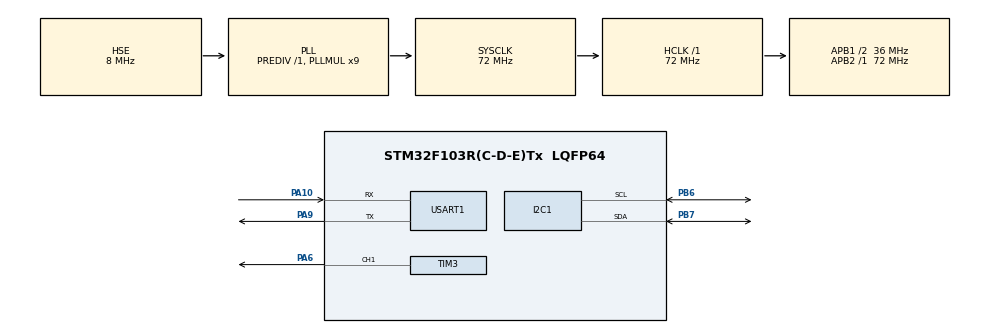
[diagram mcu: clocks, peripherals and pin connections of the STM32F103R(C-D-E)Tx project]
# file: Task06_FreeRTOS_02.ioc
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Dma.Request0=USART1_RX
Dma.Request1=USART1_TX
Dma.USART1_RX.0.Direction=DMA_PERIPH_TO_MEMORY
Dma.USART1_RX.0.Instance=DMA1_Channel5
Dma.USART1_RX.0.MemDataAlignment=DMA_MDATAALIGN_BYTE
Dma.USART1_RX.0.MemInc=DMA_MINC_ENABLE
Dma.USART1_RX.0.Mode=DMA_NORMAL
Dma.USART1_RX.0.PeriphDataAlignment=DMA_PDATAALIGN_BYTE
Dma.USART1_RX.0.PeriphInc=DMA_PINC_DISABLE
Dma.USART1_RX.0.Priority=DMA_PRIORITY_LOW
Dma.USART1_TX.1.Direction=DMA_MEMORY_TO_PERIPH
Dma.USART1_TX.1.Instance=DMA1_Channel4
Dma.USART1_TX.1.MemDataAlignment=DMA_MDATAALIGN_BYTE
Dma.USART1_TX.1.MemInc=DMA_MINC_ENABLE
Dma.USART1_TX.1.Mode=DMA_NORMAL
Dma.USART1_TX.1.PeriphDataAlignment=DMA_PDATAALIGN_BYTE
Dma.USART1_TX.1.PeriphInc=DMA_PINC_DISABLE
Dma.USART1_TX.1.Priority=DMA_PRIORITY_LOW
FREERTOS.INCLUDE_vTaskDelayUntil=1
FREERTOS.Tasks01=defaultTask,0,128,StartDefaultTask,Default,NULL,Dynamic,NULL,NULL
I2C1.I2C_Mode=I2C_Fast
Mcu.Family=STM32F1
Mcu.Name=STM32F103R(C-D-E)Tx
Mcu.Package=LQFP64
NVIC.DMA1_Channel4_IRQn=true\:5\:0\:false\:false\:true\:true\:false\:true
NVIC.DMA1_Channel5_IRQn=true\:5\:0\:false\:false\:true\:true\:false\:true
NVIC.PriorityGroup=NVIC_PRIORITYGROUP_4
NVIC.TIM6_IRQn=true\:15\:0\:false\:false\:true\:false\:false\:true
NVIC.TimeBase=TIM6_IRQn
NVIC.TimeBaseIP=TIM6
NVIC.USART1_IRQn=true\:5\:0\:false\:false\:true\:true\:true\:true
PA10.Mode=Asynchronous
PA10.Signal=USART1_RX
PA13.Mode=Serial_Wire
PA13.Signal=SYS_JTMS-SWDIO
PA14.Mode=Serial_Wire
PA14.Signal=SYS_JTCK-SWCLK
PA6.Signal=S_TIM3_CH1
PA9.Mode=Asynchronous
PA9.Signal=USART1_TX
PB6.Mode=I2C
PB6.Signal=I2C1_SCL
PB7.Mode=I2C
PB7.Signal=I2C1_SDA
PD0-OSC_IN.Mode=HSE-External-Oscillator
PD0-OSC_IN.Signal=RCC_OSC_IN
PD1-OSC_OUT.Mode=HSE-External-Oscillator
PD1-OSC_OUT.Signal=RCC_OSC_OUT
ProjectManager.HeapSize=0x200
ProjectManager.StackSize=0x400
ProjectManager.TargetToolchain=MDK-ARM V5.32
RCC.AHBFreq_Value=72000000
RCC.APB1CLKDivider=RCC_HCLK_DIV2
RCC.APB1Freq_Value=36000000
RCC.APB1TimFreq_Value=72000000
RCC.APB2Freq_Value=72000000
RCC.APB2TimFreq_Value=72000000
RCC.HCLKFreq_Value=72000000
RCC.PLLMUL=RCC_PLL_MUL9
RCC.PLLSourceVirtual=RCC_PLLSOURCE_HSE
RCC.SYSCLKFreq_VALUE=72000000
RCC.SYSCLKSource=RCC_SYSCLKSOURCE_PLLCLK
RCC.USBFreq_Value=72000000
SH.S_TIM3_CH1.0=TIM3_CH1,PWM Generation1 CH1
TIM3.AutoReloadPreload=TIM_AUTORELOAD_PRELOAD_ENABLE
TIM3.Channel-PWM\ Generation1\ CH1=TIM_CHANNEL_1
TIM3.OCMode_PWM-PWM\ Generation1\ CH1=TIM_OCMODE_PWM2
TIM3.Period=499
TIM3.Prescaler=71
USART1.VirtualMode=VM_ASYNC
VP_FREERTOS_VS_CMSIS_V1.Mode=CMSIS_V1
VP_SYS_VS_tim6.Mode=TIM6
board=custom

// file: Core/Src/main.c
/* USER CODE BEGIN Header */
/**
  ******************************************************************************
  * @file           : main.c
  * @brief          : Main program body
  ******************************************************************************
  * @attention
  *
  * Copyright (c) 2025 STMicroelectronics.
  * All rights reserved.
  *
  * This software is licensed under terms that can be found in the LICENSE file
  * in the root directory of this software component.
  * If no LICENSE file comes with this software, it is provided AS-IS.
  *
  ******************************************************************************
  */
/* USER CODE END Header */
#include "main.h"
#include "cmsis_os.h"
#include "dma.h"
#include "i2c.h"
#include "tim.h"
#include "usart.h"
#include "gpio.h"

/* USER CODE BEGIN Includes */
#include <stdio.h>
#include "MPU6050.h"
/* USER CODE END Includes */

void SystemClock_Config(void);
void MX_FREERTOS_Init(void);

/* USER CODE BEGIN 0 */
	uint16_t str2int(uint8_t *str); //字符数字转换函数声明

	extern DMA_HandleTypeDef hdma_usart1_rx;
	uint8_t Unsure_Message[16];
		QueueHandle_t xUartQueue;
    QueueHandle_t xParamQueue;

//////////////////////////////////////////////////////////任务函数实现区///////////////////////////////////////////////////////////////////////////////
///////////////////////////////Tips：查了configTICK_RATE_HZ值为默认1000 也就是1Tick为1ms///////////////////////////////////////////////////////////////
void vPWMTask(void *pvParameters) {
	uint16_t MAXCCRX = 499;				//最大CCRX
	uint16_t CCRX = 0;						//占空比调节
	uint8_t Direction = 0;				//方向 0为增1为减
	HAL_TIM_PWM_Start(&htim3, TIM_CHANNEL_1); // 启动TIM3_CH1的PWM输出
	uint8_t Zero_Flag = 0;

	TickType_t xLastWakeTime;  // 存储上一次唤醒时间
	xLastWakeTime = xTaskGetTickCount();  // 初始化：获取当前系统节拍数

	while (1)
  {
		Zero_Flag = 0;
		if(xQueueReceive(xParamQueue, &MAXCCRX, 0) == pdTRUE) {
		CCRX = 0;	//每次接受就重启一下
		Direction = 0;
}
		if(CCRX==MAXCCRX && Direction==0) Direction=1;
		if(CCRX==0 && Direction==1) Direction=0;
		if(CCRX==MAXCCRX && Direction==0 && CCRX==0) Zero_Flag = 1;	//MAXCCRX = 0的情况有点无解 只能写个标识来防了

		if(Zero_Flag == 0){
		if(Direction==0){
			CCRX += 1;
		}
		else{
			CCRX -= 1;
		}
	}
		__HAL_TIM_SetCompare(&htim3,TIM_CHANNEL_1,CCRX);
		vTaskDelayUntil(&xLastWakeTime,pdMS_TO_TICKS(2));
  }
}
///////////////////////////////////////////////////////////////////////////////////////////////////////////////////////////////////////////////////
///////////////////////////////////////////////////////////////////////////////////////////////////////////////////////////////////////////////////
void vUARTTask(void *pvParameters) {			//UART任务
    uint8_t UART_QueneMessage[16];
    uint16_t bright;

    while(1) {
        if (xQueueReceive(xUartQueue, UART_QueneMessage, portMAX_DELAY) == pdPASS) {
            // 直接把数字字符串转成整数
            bright = str2int(UART_QueneMessage);

            // 发送到亮度队列
            xQueueSend(xParamQueue, &bright, 0);
        }
    }
}
///////////////////////////////////////////////////////////////////////////////////////////////////////////////////////////////////////////////////
///////////////////////////////////////////////////////////////////////////////////////////////////////////////////////////////////////////////////
void vMPU6050INIT(void *pvParameters) {
	int ret = 0;
	vTaskDelay(pdMS_TO_TICKS(5000));
	printf("MPU6050 initing......\n");
	do{
		ret = MPU6050_DMP_init();
	}while(ret);
	if(MPU6050_DMP_init()==0) printf("MPU6050 init success!\n");
	vTaskDelete(NULL);
}
///////////////////////////////////////////////////////////////////////////////////////////////////////////////////////////////////////////////////
///////////////////////////////////////////////////////////////////////////////////////////////////////////////////////////////////////////////////
void vMPU6050Task(void *pvParameters) {
	float accel[3], gyro[3];			//角速度 加速度
	float pitch,roll,yaw;
	uint8_t Check_MODE = 0;				//查阅模式 0为六轴 1为欧拉角
	TickType_t xLastWakeTime;  // 存储上一次唤醒时间
	xLastWakeTime = xTaskGetTickCount();  // 初始化：获取当前系统节拍数

  while (1){
	if(Check_MODE == 0){
		if (MPU6050_DMP_Get6Axis_f(accel, gyro) == 0){
    printf("AX:%.3f AY:%.3f AZ:%.3f  GX:%.3f GY:%.3f GZ:%.3f\n",
           accel[0], accel[1], accel[2],
           gyro[0], gyro[1], gyro[2]);
			}
		vTaskDelayUntil(&xLastWakeTime,pdMS_TO_TICKS(100));
		}
	if(Check_MODE == 1){
		if (MPU6050_DMP_Get_Date(&pitch, &roll, &yaw) == 0){
    printf("Pitch: %.2f, Roll: %.2f, Yaw: %.2f\r\n", pitch, roll, yaw);
			}
		vTaskDelayUntil(&xLastWakeTime,pdMS_TO_TICKS(100));
		}
	}
}

///////////////////////////////////////////////////////////////////////////////////////////////////////////////////////////////////////////////////
///////////////////////////////////////////////////////////////////////////////////////////////////////////////////////////////////////////////////

/* USER CODE END 0 */

int main(void)
{

  /* MCU Configuration--------------------------------------------------------*/

  /* Reset of all peripherals, Initializes the Flash interface and the Systick. */
  HAL_Init();

  /* Configure the system clock */
  SystemClock_Config();

  /* Initialize all configured peripherals */
  MX_GPIO_Init();
  MX_DMA_Init();
  MX_USART1_UART_Init();
  MX_I2C1_Init();
  MX_TIM3_Init();
  /* USER CODE BEGIN 2 */

//////////////////////////////////////////////////////////DMA初始化//////////////////////////////////////////////////////////////
		HAL_UARTEx_ReceiveToIdle_DMA(&huart1,Unsure_Message,sizeof(Unsure_Message));
	__HAL_DMA_DISABLE_IT(&hdma_usart1_rx,DMA_IT_HT);

////////////////////////////////////////////////////////////////////////////////////////////////////////////////////////////////
///////////////////////////////////////////////////////////任务区/////////////////////////////////////////////////////////////
		TaskHandle_t PWM_TaskHandle = NULL;
		TaskHandle_t UART_TaskHandle = NULL;
		TaskHandle_t MPU6050_TaskHandle = NULL;
		TaskHandle_t MPU6050INIT_TaskHandle = NULL;
		xUartQueue  = xQueueCreate(10, sizeof(Unsure_Message));
    xParamQueue = xQueueCreate(10, sizeof(uint16_t));

		xTaskCreate(
        vPWMTask,       // 任务函数
        "PWM_LED",    // 任务名称
        128,            // 栈大小（128字=512字节）
        NULL,           // 不传递参数
        1,              // 优先级1
        &PWM_TaskHandle
    );
		xTaskCreate(
        vUARTTask,       // 任务函数
        "UART",    // 任务名称
        128,            // 栈大小（128字=512字节）
        NULL,           // 不传递参数
        1,              // 优先级1
        &UART_TaskHandle
    );
		xTaskCreate(
        vMPU6050Task,       // 任务函数
        "MPU6050",    // 任务名称
        128,            // 栈大小（128字=512字节）
        NULL,           // 不传递参数
        1,              // 优先级1
        &MPU6050_TaskHandle
    );
		xTaskCreate(
        vMPU6050INIT,       // 任务函数
        "MPU6050INIT",    // 任务名称
        128,            // 栈大小（128字=512字节）
        NULL,           // 不传递参数
        2,              // 优先级2
        &MPU6050INIT_TaskHandle
    );
////////////////////////////////////////////////////////////////////////////////////////////////////////////////////////////////
////////////////////////////////////////////////////////////////////////////////////////////////////////////////////////////////

  /* USER CODE END 2 */

  /* Call init function for freertos objects (in freertos.c) */
  MX_FREERTOS_Init();
  /* Start scheduler */
  osKernelStart();

  /* We should never get here as control is now taken by the scheduler */
  /* Infinite loop */
  while (1)
  {

  }
}

void SystemClock_Config(void)
{
  RCC_OscInitTypeDef RCC_OscInitStruct = {0};
  RCC_ClkInitTypeDef RCC_ClkInitStruct = {0};

  /** Initializes the RCC Oscillators according to the specified parameters
  * in the RCC_OscInitTypeDef structure.
  */
  RCC_OscInitStruct.OscillatorType = RCC_OSCILLATORTYPE_HSE;
  RCC_OscInitStruct.HSEState = RCC_HSE_ON;
  RCC_OscInitStruct.HSEPredivValue = RCC_HSE_PREDIV_DIV1;
  RCC_OscInitStruct.HSIState = RCC_HSI_ON;
  RCC_OscInitStruct.PLL.PLLState = RCC_PLL_ON;
  RCC_OscInitStruct.PLL.PLLSource = RCC_PLLSOURCE_HSE;
  RCC_OscInitStruct.PLL.PLLMUL = RCC_PLL_MUL9;
  if (HAL_RCC_OscConfig(&RCC_OscInitStruct) != HAL_OK)
  {
    Error_Handler();
  }
  /** Initializes the CPU, AHB and APB buses clocks
  */
  RCC_ClkInitStruct.ClockType = RCC_CLOCKTYPE_HCLK|RCC_CLOCKTYPE_SYSCLK
                              |RCC_CLOCKTYPE_PCLK1|RCC_CLOCKTYPE_PCLK2;
  RCC_ClkInitStruct.SYSCLKSource = RCC_SYSCLKSOURCE_PLLCLK;
  RCC_ClkInitStruct.AHBCLKDivider = RCC_SYSCLK_DIV1;
  RCC_ClkInitStruct.APB1CLKDivider = RCC_HCLK_DIV2;
  RCC_ClkInitStruct.APB2CLKDivider = RCC_HCLK_DIV1;

  if (HAL_RCC_ClockConfig(&RCC_ClkInitStruct, FLASH_LATENCY_2) != HAL_OK)
  {
    Error_Handler();
  }
}

/* USER CODE BEGIN 4 */
/////////////////////////////////////////////////////DMA中断实现/////////////////////////////////////////////////////////////////////////////////////////////
	void HAL_UARTEx_RxEventCallback(UART_HandleTypeDef *huart,uint16_t Size){
			if(huart == &huart1){
			printf("Recieve DMA\n");
      BaseType_t xHigherPriorityTaskWoken = pdFALSE;
      xQueueSendFromISR(xUartQueue, Unsure_Message, &xHigherPriorityTaskWoken);		//有数据进来 就传到UART队列

      HAL_UARTEx_ReceiveToIdle_DMA(&huart1,Unsure_Message,sizeof(Unsure_Message));	//接受下一轮数据
			__HAL_DMA_DISABLE_IT(&hdma_usart1_rx,DMA_IT_HT);
			portYIELD_FROM_ISR(xHigherPriorityTaskWoken);
    }
}
/////////////////////////////////////////////////////printf重写实现/////////////////////////////////////////////////////////////////////////////////////////
#ifdef __GNUC__
#define PUTCHAR_PROTOTYPE int __io_putchar(int ch)
#else
#define PUTCHAR_PROTOTYPE int fputc(int ch, FILE *f)
#endif
PUTCHAR_PROTOTYPE
{
    HAL_UART_Transmit(&huart1 , (uint8_t *)&ch, 1, 0xFFFF);
    return ch;
}
/////////////////////////////////////////////////////////////////////////////////////////////////////////////////////////////////////////////////////////
uint16_t str2int(uint8_t *str)
{
    uint16_t num = 0;
    while (*str >= '0' && *str <= '9')  // 遍历数字字符
    {
        num = num * 10 + (*str - '0');  // 累加成整数
        str++;
    }
    return num;
}
/////////////////////////////////////////////////////////////////////////////////////////////////////////////////////////////////////////////////////////

/* USER CODE END 4 */

void HAL_TIM_PeriodElapsedCallback(TIM_HandleTypeDef *htim)
{
  if (htim->Instance == TIM6) {
    HAL_IncTick();
  }
}

void Error_Handler(void)
{
  __disable_irq();
  while (1)
  {
  }
}
